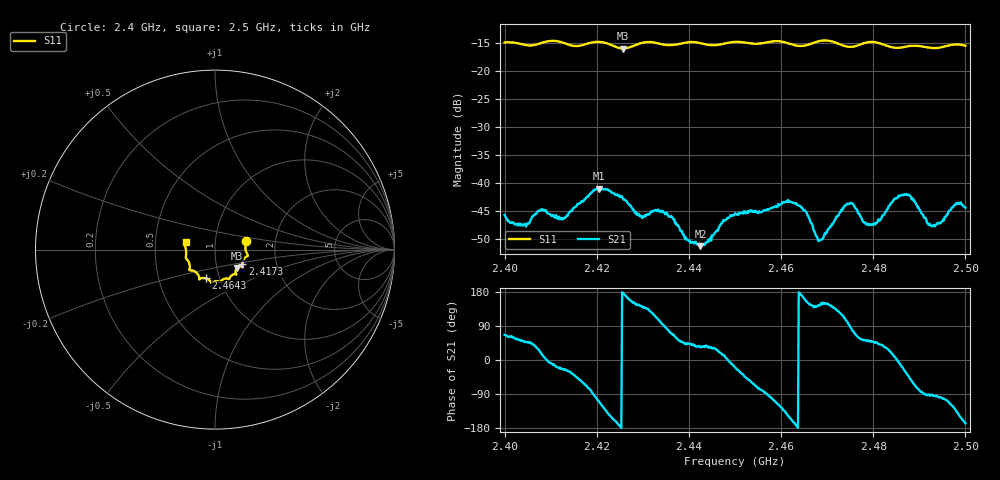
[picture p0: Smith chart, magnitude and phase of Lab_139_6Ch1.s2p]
# Hz S RI R 50
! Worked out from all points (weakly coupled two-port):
!   601 points, 2.4 GHz to 2.5 GHz, reference 50 ohm
!   highest |S21| = -40.98 dB at 2.4205 GHz (marker M1); lowest = -51.3 dB at 2.4425 GHz (marker M2)
!   lowest |S11| = -15.9 dB at 2.4257 GHz (marker M3), VSWR 1.38, Z = 62.4 - j13.1 ohm
!   |S11| at or under -10 dB: start of sweep to end of sweep
!   S12 and S22 are empty: the file has one direction only
!   S11 on the Smith chart (normalised r, x): 2.4 GHz: 1.41, +0.14; 2.4173 GHz: 1.34, -0.23; 2.4643 GHz: 0.86, -0.28; 2.5 GHz: 0.72, +0.06
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2.4e9  0.1739 0.0492  0.00208 0.00476  0 0  0 0
2.404167e9  0.1711 0.0229  0.00273 0.00322  0 0  0 0
2.407833e9  0.1769 -0.0198  0.0054 0.00197  0 0  0 0
2.4125e9  0.1768 -0.0382  0.00435 -0.0019  0 0  0 0
2.416667e9  0.1528 -0.0747  0.00384 -0.00574  0 0  0 0
2.417333e9  0.1523 -0.0822  0.0032 -0.00646  0 0  0 0
2.4205e9  0.155 -0.0974  -0.00301 -0.00841  0 0  0 0
2.425667e9  0.1221 -0.1027  -0.00729 0.000378  0 0  0 0
2.429833e9  0.1173 -0.1352  -0.00372 0.00316  0 0  0 0
2.433333e9  0.1127 -0.1366  -0.0017 0.00556  0 0  0 0
2.4425e9  0.0722 -0.1628  0.00229 0.0015  0 0  0 0
2.45e9  0.0293 -0.1808  0.00509 -0.00179  0 0  0 0
2.464333e9  -0.0503 -0.1603  -0.00602 0.000901  0 0  0 0
2.466667e9  -0.0763 -0.1595  -0.00354 0.00256  0 0  0 0
2.4685e9  -0.0866 -0.1652  -0.00255 0.00176  0 0  0 0
2.4745e9  -0.1017 -0.1306  -0.000824 0.00646  0 0  0 0
2.479333e9  -0.1418 -0.115  0.00286 0.0032  0 0  0 0
2.483333e9  -0.1407 -0.0898  0.00556 0.00282  0 0  0 0
2.4875e9  -0.1581 -0.0534  0.00591 -0.00506  0 0  0 0
2.493e9  -0.1605 -0.0139  -0.000351 -0.00417  0 0  0 0
2.498e9  -0.1708 0.0315  -0.00465 -0.00473  0 0  0 0
2.5e9  -0.1635 0.0414  -0.00588 -0.00133  0 0  0 0
